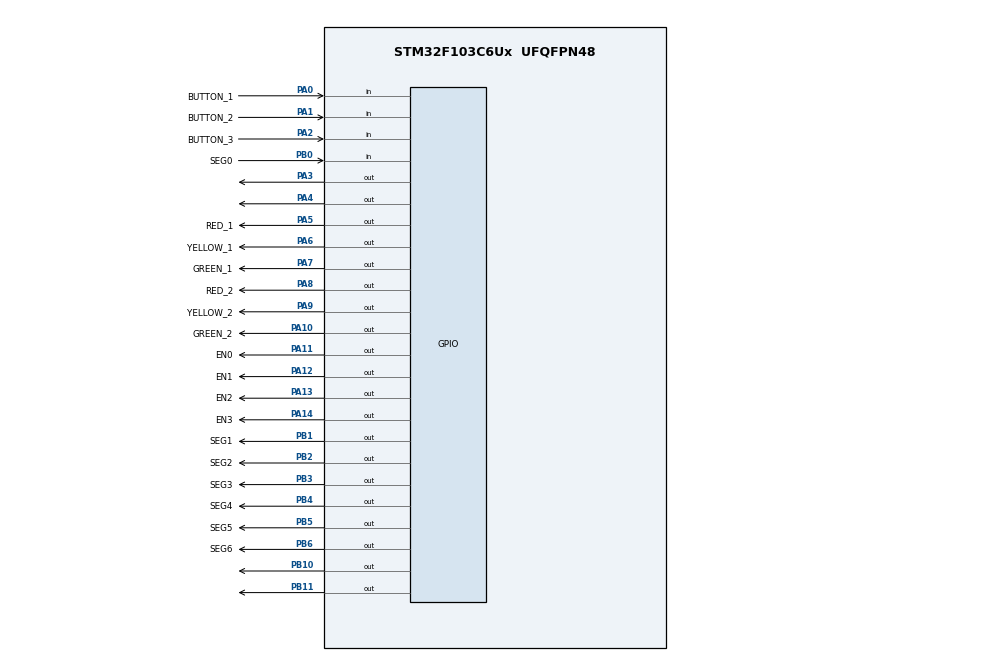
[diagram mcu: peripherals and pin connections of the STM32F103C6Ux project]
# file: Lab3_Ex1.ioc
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Mcu.Family=STM32F1
Mcu.Name=STM32F103C6Ux
Mcu.Package=UFQFPN48
NVIC.PriorityGroup=NVIC_PRIORITYGROUP_4
NVIC.TIM2_IRQn=true\:0\:0\:false\:false\:true\:true\:true
PA0-WKUP.GPIO_Label=BUTTON_1
PA0-WKUP.Signal=GPIO_Input
PA1.GPIO_Label=BUTTON_2
PA1.Signal=GPIO_Input
PA10.GPIO_Label=GREEN_2
PA10.Signal=GPIO_Output
PA11.GPIO_Label=EN0
PA11.Signal=GPIO_Output
PA12.GPIO_Label=EN1
PA12.Signal=GPIO_Output
PA13.GPIO_Label=EN2
PA13.Signal=GPIO_Output
PA14.GPIO_Label=EN3
PA14.Signal=GPIO_Output
PA2.GPIO_Label=BUTTON_3
PA2.Signal=GPIO_Input
PA3.Signal=GPIO_Output
PA4.Signal=GPIO_Output
PA5.GPIO_Label=RED_1
PA5.Signal=GPIO_Output
PA6.GPIO_Label=YELLOW_1
PA6.Signal=GPIO_Output
PA7.GPIO_Label=GREEN_1
PA7.Signal=GPIO_Output
PA8.GPIO_Label=RED_2
PA8.Signal=GPIO_Output
PA9.GPIO_Label=YELLOW_2
PA9.Signal=GPIO_Output
PB0.GPIO_Label=SEG0
PB0.Signal=GPIO_Input
PB1.GPIO_Label=SEG1
PB1.Signal=GPIO_Output
PB10.Signal=GPIO_Output
PB11.Signal=GPIO_Output
PB2.GPIO_Label=SEG2
PB2.Signal=GPIO_Output
PB3.GPIO_Label=SEG3
PB3.Signal=GPIO_Output
PB4.GPIO_Label=SEG4
PB4.Signal=GPIO_Output
PB5.GPIO_Label=SEG5
PB5.Signal=GPIO_Output
PB6.GPIO_Label=SEG6
PB6.Signal=GPIO_Output
ProjectManager.HeapSize=0x200
ProjectManager.StackSize=0x400
ProjectManager.TargetToolchain=STM32CubeIDE
RCC.APB1Freq_Value=8000000
RCC.APB2Freq_Value=8000000
TIM2.Period=9
TIM2.Prescaler=7999
VP_SYS_VS_ND.Mode=No_Debug
VP_TIM2_VS_ClockSourceINT.Mode=Internal
board=custom

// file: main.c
/* USER CODE BEGIN Header */
/**
  ******************************************************************************
  * @file           : main.c
  * @brief          : Main program body
  ******************************************************************************
  */
/* USER CODE END Header */
#include "main.h"

/* USER CODE BEGIN Includes */
#include "input_processing.h"
#include "timer.h"
#include "input_reading.h"
#include "led_display.h"
/* USER CODE END Includes */

TIM_HandleTypeDef htim2;

void SystemClock_Config(void);
static void MX_GPIO_Init(void);
static void MX_TIM2_Init(void);

int main(void)
{

  /* MCU Configuration--------------------------------------------------------*/

  /* Reset of all peripherals, Initializes the Flash interface and the Systick. */
  HAL_Init();

  /* Configure the system clock */
  SystemClock_Config();

  /* Initialize all configured peripherals */
  MX_GPIO_Init();
  MX_TIM2_Init();
  /* USER CODE BEGIN 2 */
  HAL_TIM_Base_Start_IT(&htim2);
  /* USER CODE END 2 */

  /* Infinite loop */
  while (1)
  {

    /* USER CODE BEGIN 3 */
    fsm_for_input_processing();
  }
  /* USER CODE END 3 */
}

void SystemClock_Config(void)
{
  RCC_OscInitTypeDef RCC_OscInitStruct = {0};
  RCC_ClkInitTypeDef RCC_ClkInitStruct = {0};

  RCC_OscInitStruct.OscillatorType = RCC_OSCILLATORTYPE_HSI;
  RCC_OscInitStruct.HSIState = RCC_HSI_ON;
  RCC_OscInitStruct.HSICalibrationValue = RCC_HSICALIBRATION_DEFAULT;
  RCC_OscInitStruct.PLL.PLLState = RCC_PLL_NONE;
  if (HAL_RCC_OscConfig(&RCC_OscInitStruct) != HAL_OK)
  {
    Error_Handler();
  }

  RCC_ClkInitStruct.ClockType = RCC_CLOCKTYPE_HCLK|RCC_CLOCKTYPE_SYSCLK
                              |RCC_CLOCKTYPE_PCLK1|RCC_CLOCKTYPE_PCLK2;
  RCC_ClkInitStruct.SYSCLKSource = RCC_SYSCLKSOURCE_HSI;
  RCC_ClkInitStruct.AHBCLKDivider = RCC_SYSCLK_DIV1;
  RCC_ClkInitStruct.APB1CLKDivider = RCC_HCLK_DIV1;
  RCC_ClkInitStruct.APB2CLKDivider = RCC_HCLK_DIV1;

  if (HAL_RCC_ClockConfig(&RCC_ClkInitStruct, FLASH_LATENCY_0) != HAL_OK)
  {
    Error_Handler();
  }
}

static void MX_TIM2_Init(void)
{
  TIM_ClockConfigTypeDef sClockSourceConfig = {0};
  TIM_MasterConfigTypeDef sMasterConfig = {0};

  htim2.Instance = TIM2;
  htim2.Init.Prescaler = 7999;
  htim2.Init.CounterMode = TIM_COUNTERMODE_UP;
  htim2.Init.Period = 9;
  htim2.Init.ClockDivision = TIM_CLOCKDIVISION_DIV1;
  htim2.Init.AutoReloadPreload = TIM_AUTORELOAD_PRELOAD_DISABLE;
  if (HAL_TIM_Base_Init(&htim2) != HAL_OK)
  {
    Error_Handler();
  }
  sClockSourceConfig.ClockSource = TIM_CLOCKSOURCE_INTERNAL;
  if (HAL_TIM_ConfigClockSource(&htim2, &sClockSourceConfig) != HAL_OK)
  {
    Error_Handler();
  }
  sMasterConfig.MasterOutputTrigger = TIM_TRGO_RESET;
  sMasterConfig.MasterSlaveMode = TIM_MASTERSLAVEMODE_DISABLE;
  if (HAL_TIMEx_MasterConfigSynchronization(&htim2, &sMasterConfig) != HAL_OK)
  {
    Error_Handler();
  }
}

static void MX_GPIO_Init(void)
{
  GPIO_InitTypeDef GPIO_InitStruct = {0};

  /* GPIO Ports Clock Enable */
  __HAL_RCC_GPIOA_CLK_ENABLE();
  __HAL_RCC_GPIOB_CLK_ENABLE();

  /*Configure GPIO pin Output Level */
  HAL_GPIO_WritePin(GPIOA, GPIO_PIN_3|GPIO_PIN_4|RED_1_Pin|YELLOW_1_Pin
                          |GREEN_1_Pin|RED_2_Pin|YELLOW_2_Pin|GREEN_2_Pin
                          |EN0_Pin|EN1_Pin|EN2_Pin|EN3_Pin, GPIO_PIN_RESET);

  /*Configure GPIO pin Output Level */
  HAL_GPIO_WritePin(GPIOB, SEG0_Pin|SEG1_Pin|SEG2_Pin|GPIO_PIN_10|GPIO_PIN_11
                          |SEG3_Pin|SEG4_Pin|SEG5_Pin|SEG6_Pin, GPIO_PIN_RESET);

  /*Configure GPIO pins : BUTTON_1_Pin BUTTON_2_Pin BUTTON_3_Pin */
  GPIO_InitStruct.Pin = BUTTON_1_Pin|BUTTON_2_Pin|BUTTON_3_Pin;
  GPIO_InitStruct.Mode = GPIO_MODE_INPUT;
  GPIO_InitStruct.Pull = GPIO_NOPULL;
  HAL_GPIO_Init(GPIOA, &GPIO_InitStruct);

  /*Configure GPIO pins : PA3 PA4 RED_1_Pin YELLOW_1_Pin
                           GREEN_1_Pin RED_2_Pin YELLOW_2_Pin GREEN_2_Pin
                           EN0_Pin EN1_Pin EN2_Pin EN3_Pin */
  GPIO_InitStruct.Pin = GPIO_PIN_3|GPIO_PIN_4|RED_1_Pin|YELLOW_1_Pin
                          |GREEN_1_Pin|RED_2_Pin|YELLOW_2_Pin|GREEN_2_Pin
                          |EN0_Pin|EN1_Pin|EN2_Pin|EN3_Pin;
  GPIO_InitStruct.Mode = GPIO_MODE_OUTPUT_PP;
  GPIO_InitStruct.Pull = GPIO_NOPULL;
  GPIO_InitStruct.Speed = GPIO_SPEED_FREQ_LOW;
  HAL_GPIO_Init(GPIOA, &GPIO_InitStruct);

  /*Configure GPIO pin : SEG0_Pin */
  GPIO_InitStruct.Pin = SEG0_Pin;
  GPIO_InitStruct.Mode = GPIO_MODE_OUTPUT_PP;
  GPIO_InitStruct.Pull = GPIO_NOPULL;
  GPIO_InitStruct.Speed = GPIO_SPEED_FREQ_LOW;
  HAL_GPIO_Init(GPIOB, &GPIO_InitStruct);

  /*Configure GPIO pins : SEG1_Pin SEG2_Pin PB10 PB11
                           SEG3_Pin SEG4_Pin SEG5_Pin SEG6_Pin */
  GPIO_InitStruct.Pin = SEG1_Pin|SEG2_Pin|GPIO_PIN_10|GPIO_PIN_11
                          |SEG3_Pin|SEG4_Pin|SEG5_Pin|SEG6_Pin;
  GPIO_InitStruct.Mode = GPIO_MODE_OUTPUT_PP;
  GPIO_InitStruct.Pull = GPIO_NOPULL;
  GPIO_InitStruct.Speed = GPIO_SPEED_FREQ_LOW;
  HAL_GPIO_Init(GPIOB, &GPIO_InitStruct);
}

/* USER CODE BEGIN 4 */
#define LED_SCAN_MS    5
#define LED_SCAN_TICKS ((LED_SCAN_MS > TIMER_CYCLE) ? (LED_SCAN_MS / TIMER_CYCLE) : 1)
static uint8_t scanCounter = 0;

void HAL_TIM_PeriodElapsedCallback(TIM_HandleTypeDef *htim) {
    if (htim->Instance == TIM2) {
        button_reading();
        if (++scanCounter >= LED_SCAN_TICKS) {
            scanCounter = 0;
            led_scan();
        }
        timer_run();
    }
}
/* USER CODE END 4 */

void Error_Handler(void)
{
  __disable_irq();
  while (1)
  {
  }
}
